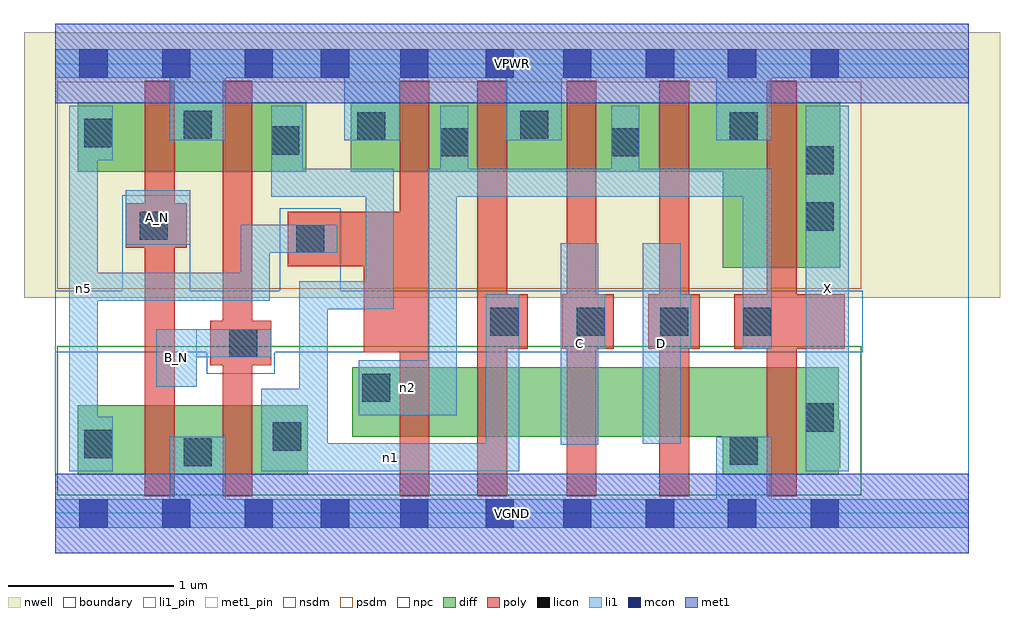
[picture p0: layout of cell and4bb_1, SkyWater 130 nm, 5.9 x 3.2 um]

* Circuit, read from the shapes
.subckt and4bb_1 A_N B_N C D VGND VPWR X n1 n2 n5
XM1 VGND A_N n5 VSUBS sky130_fd_pr__nfet_01v8 w=0.42 l=0.18
XM2 n1 B_N VGND VSUBS sky130_fd_pr__nfet_01v8 w=0.42 l=0.18
XM3 n3 n5 n2 VSUBS sky130_fd_pr__nfet_01v8 w=0.42 l=0.18
XM4 n4 n1 n3 VSUBS sky130_fd_pr__nfet_01v8 w=0.42 l=0.18
XM5 n6 C n4 VSUBS sky130_fd_pr__nfet_01v8 w=0.42 l=0.18
XM6 VGND D n6 VSUBS sky130_fd_pr__nfet_01v8 w=0.42 l=0.18
XM7 X n2 VGND VSUBS sky130_fd_pr__nfet_01v8 w=0.65 l=0.18
XM8 VPWR A_N n5 n7 sky130_fd_pr__pfet_01v8 w=0.42 l=0.18
XM9 n1 B_N VPWR n7 sky130_fd_pr__pfet_01v8 w=0.42 l=0.18
XM10 n2 n5 VPWR n7 sky130_fd_pr__pfet_01v8 w=0.42 l=0.18
XM11 VPWR n1 n2 n7 sky130_fd_pr__pfet_01v8 w=0.42 l=0.18
XM12 n2 C VPWR n7 sky130_fd_pr__pfet_01v8 w=0.42 l=0.18
XM13 VPWR D n2 n7 sky130_fd_pr__pfet_01v8 w=0.42 l=0.18
XM14 X n2 VPWR n7 sky130_fd_pr__pfet_01v8 w=1 l=0.18
.ends

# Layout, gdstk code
import gdstk
lib = gdstk.Library(unit=1e-6, precision=1e-09)
def R(c, l, rs):  # rectangles x0, y0, x1, y1
    for r in rs: c.add(gdstk.rectangle(r[:2], r[2:], *l))
def A(c, l, x, y, w, h, nx, ny, dx, dy):  # array of equal rectangles
    R(c, l, [(x+i*dx, y+j*dy, x+i*dx+w, y+j*dy+h) for i in range(nx) for j in range(ny)])
nwell = (64, 20)
diff = (65, 20)
poly = (66, 20)
licon = (66, 44)
li1_pin = (67, 16)
li1 = (67, 20)
mcon = (67, 44)
met1_pin = (68, 16)
met1 = (68, 20)
nsdm = (93, 44)
psdm = (94, 20)
npc = (95, 20)
boundary = (235, 4)

and4bb_1 = lib.new_cell('and4bb_1')
R(and4bb_1, nwell, [(-0.19,1.305,5.71,2.91), (0,1.305,5.52,2.91)])
R(and4bb_1, diff, [(0.135,0.235,1.525,0.655), (4.035,0.235,4.735,0.885), (4.035,0.275,4.745,0.565), (1.795,0.465,4.735,0.885), (4.035,1.485,4.745,2.485), (0.135,2.065,1.515,2.485), (1.785,2.065,4.745,2.485)])
R(and4bb_1, poly, [(0.54,0.105,0.72,2.615), (1.01,0.105,1.19,2.615), (2.08,0.105,2.26,2.615), (2.55,0.105,2.73,2.615), (3.09,0.105,3.27,2.615), (3.65,0.105,3.83,2.615), (4.3,0.105,4.48,2.615), (0.935,0.895,1.305,1.165), (1.865,0.975,2.26,1.825), (2.55,0.995,2.855,1.325), (3.065,0.995,3.375,1.325), (3.585,0.995,3.895,1.325), (4.105,0.995,4.77,1.325), (1.405,1.495,2.26,1.825), (0.425,1.605,0.795,1.875)])
R(and4bb_1, licon, [(0.775,0.285,0.945,0.455), (4.075,0.295,4.245,0.465), (0.175,0.335,0.345,0.505), (1.315,0.38,1.485,0.55), (4.535,0.495,4.705,0.665), (1.855,0.675,2.025,0.845), (1.05,0.945,1.22,1.115), (2.63,1.075,2.8,1.245), (3.15,1.075,3.32,1.245), (3.655,1.075,3.825,1.245), (4.155,1.075,4.325,1.245), (1.455,1.575,1.625,1.745), (0.51,1.655,0.68,1.825), (4.535,1.71,4.705,1.88), (4.535,2.05,4.705,2.22), (2.325,2.16,2.495,2.33), (3.36,2.16,3.53,2.33), (1.305,2.17,1.475,2.34), (0.175,2.215,0.345,2.385), (1.825,2.255,1.995,2.425), (4.075,2.255,4.245,2.425), (0.775,2.265,0.945,2.435), (2.81,2.265,2.98,2.435)])
R(and4bb_1, li1_pin, [(4.535,0.255,4.795,2.465), (3.055,0.415,3.28,1.635), (3.55,0.42,3.78,1.635), (0.61,0.765,0.855,1.115), (0.425,1.625,0.815,1.955)])
R(and4bb_1, li1, [(0,-0.085,5.52,0.085), (0.69,-0.085,1.03,0.465), (3.995,-0.085,4.33,0.465), (0.085,0.255,0.255,2.465), (0.085,0.255,0.345,0.585), (1.245,0.255,2.805,0.425), (1.245,0.255,1.645,0.755), (1.475,0.255,1.645,1.405), (2.6,0.255,2.805,1.325), (4.535,0.255,4.795,2.465), (3.055,0.415,3.28,1.635), (3.55,0.42,3.78,1.635), (1.835,0.595,2.425,0.925), (2.25,0.595,2.425,2.085), (0.61,0.765,0.855,1.115), (0.61,0.945,1.305,1.115), (3.055,0.995,3.325,1.325), (3.55,0.995,3.845,1.325), (4.155,0.995,4.33,2.085), (1.475,1.235,2.045,1.405), (1.875,1.235,2.045,2.085), (0.085,1.285,1.295,1.455), (1.12,1.285,1.295,1.745), (1.12,1.575,1.705,1.745), (0.425,1.625,0.815,1.955), (1.305,1.915,1.495,2.465), (1.305,1.915,2.045,2.085), (2.25,1.915,4.33,2.085), (2.325,1.915,2.495,2.465), (3.36,1.915,3.53,2.465), (0.085,2.135,0.345,2.465), (0.69,2.255,1.03,2.805), (1.745,2.255,2.08,2.805), (2.725,2.255,3.06,2.805), (3.995,2.255,4.33,2.805), (0,2.635,5.52,2.805)])
A(and4bb_1, mcon, 0.145, -0.085, 0.17, 0.17, 3, 2, 0.5, 2.72)
R(and4bb_1, mcon, [(1.605,-0.085,1.775,0.085), (2.085,-0.085,2.255,0.085), (2.6,-0.085,2.77,0.085), (3.07,-0.085,3.24,0.085), (3.57,-0.085,3.74,0.085), (4.065,-0.085,4.235,0.085), (4.565,-0.085,4.735,0.085), (1.605,2.635,1.775,2.805), (2.085,2.635,2.255,2.805), (2.6,2.635,2.77,2.805), (3.07,2.635,3.24,2.805), (3.57,2.635,3.74,2.805), (4.065,2.635,4.235,2.805), (4.565,2.635,4.735,2.805)])
R(and4bb_1, met1_pin, [(0,-0.24,5.52,0.24), (0,2.48,5.52,2.96)])
R(and4bb_1, met1, [(0,-0.24,5.52,0.24), (0,2.48,5.52,2.96)])
R(and4bb_1, nsdm, [(0.01,0.11,4.87,1.01)])
R(and4bb_1, psdm, [(0.01,1.36,4.87,2.61)])
R(and4bb_1, npc, [(0.915,0.845,1.325,1.345), (0,0.975,4.88,1.345), (0.405,0.975,0.815,1.925), (1.355,0.975,1.725,1.845)])
R(and4bb_1, boundary, [(0,0,5.52,2.72)])
and4bb_1.add(gdstk.Label('A_N', (0.62,1.79), layer=67, texttype=5))
and4bb_1.add(gdstk.Label('B_N', (0.732,0.94), layer=67, texttype=5))
and4bb_1.add(gdstk.Label('C', (3.167,1.025), layer=67, texttype=5))
and4bb_1.add(gdstk.Label('D', (3.665,1.027), layer=67, texttype=5))
and4bb_1.add(gdstk.Label('X', (4.665,1.36), layer=67, texttype=5))
and4bb_1.add(gdstk.Label('n5', (0.17,1.36), layer=67, texttype=5))
and4bb_1.add(gdstk.Label('n1', (2.025,0.34), layer=67, texttype=5))
and4bb_1.add(gdstk.Label('n2', (2.13,0.76), layer=67, texttype=5))
and4bb_1.add(gdstk.Label('VPWR', (2.76,2.72), layer=68, texttype=5))
and4bb_1.add(gdstk.Label('VGND', (2.76,0), layer=68, texttype=5))
and4bb_1.add(gdstk.Label('A_N', (0.62,1.79), layer=67, texttype=16))
and4bb_1.add(gdstk.Label('B_N', (0.732,0.94), layer=67, texttype=16))
and4bb_1.add(gdstk.Label('C', (3.167,1.025), layer=67, texttype=16))
and4bb_1.add(gdstk.Label('D', (3.665,1.027), layer=67, texttype=16))
and4bb_1.add(gdstk.Label('X', (4.665,1.36), layer=67, texttype=16))
and4bb_1.add(gdstk.Label('VPWR', (2.76,2.72), layer=68, texttype=16))
and4bb_1.add(gdstk.Label('VGND', (2.76,0), layer=68, texttype=16))

lib.write_gds('and4bb_1.gds')
